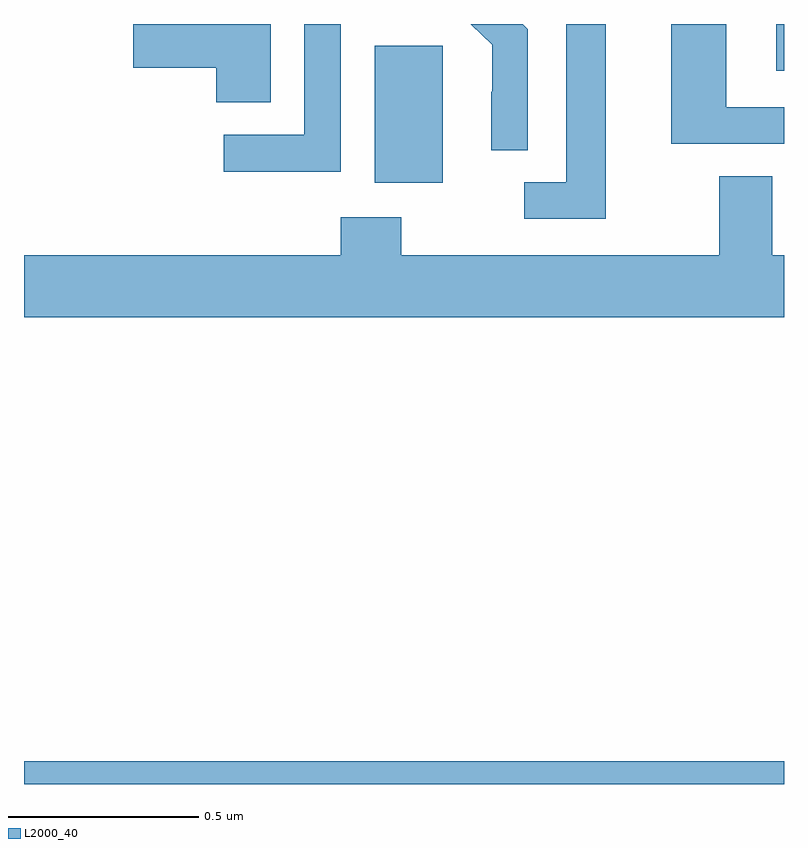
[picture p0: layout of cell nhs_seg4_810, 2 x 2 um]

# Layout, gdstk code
import gdstk
lib = gdstk.Library(unit=1e-6, precision=1e-09)
def R(c, l, rs):  # rectangles x0, y0, x1, y1
    for r in rs: c.add(gdstk.rectangle(r[:2], r[2:], *l))
def P(c, l, *ps):  # polygons
    for p in ps: c.add(gdstk.Polygon(p, *l))
L2000_40 = (2000, 40)

nhs_seg4_810 = lib.new_cell('nhs_seg4_810')
R(nhs_seg4_810, L2000_40, [(120,820.9,122,820.96), (120.923,822.482,121.102,822.843), (121.979,822.777,122,822.9)])
P(nhs_seg4_810, L2000_40, [(120.649,822.9),(120.288,822.9),(120.288,822.785),(120.506,822.785),(120.506,822.694),(120.649,822.694)],
  [(121.531,822.9),(121.427,822.9),(121.427,822.483),(121.317,822.483),(121.317,822.387),(121.531,822.387)],
  [(122,822.681),(121.848,822.681),(121.848,822.9),(121.703,822.9),(121.703,822.585),(122,822.585)],
  [(120.834,822.9),(120.738,822.9),(120.738,822.609),(120.525,822.609),(120.525,822.511),(120.834,822.511)],
  [(121.326,822.886),(121.312,822.9),(121.176,822.9),(121.232,822.845),(121.232,822.722),(121.23,822.722),(121.23,822.568),(121.326,822.568)],
  [(122,822.292),(121.969,822.292),(121.969,822.5),(121.829,822.5),(121.829,822.292),(120.993,822.292),(120.993,822.391),(120.833,822.391),(120.833,822.292),(120,822.292),(120,822.128),(122,822.128)])

lib.write_gds('nhs_seg4_810.gds')
